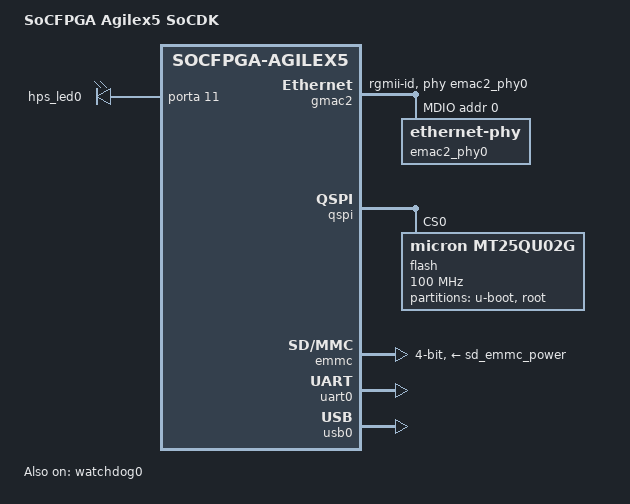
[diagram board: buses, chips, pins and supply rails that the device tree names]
// SPDX-License-Identifier: GPL-2.0-only
/*
 * Copyright (C) 2023, Intel Corporation
 */
#include "socfpga_agilex5.dtsi"

/ {
	model = "SoCFPGA Agilex5 SoCDK";
	compatible = "intel,socfpga-agilex5-socdk", "intel,socfpga-agilex5";

	aliases {
		serial0 = &uart0;
		ethernet0 = &gmac0;
		ethernet1 = &gmac1;
		ethernet2 = &gmac2;
	};

	chosen {
		stdout-path = "serial0:115200n8";
	};

	leds {
		compatible = "gpio-leds";

		led-0 {
			label = "hps_led0";
			gpios = <&porta 11 GPIO_ACTIVE_HIGH>;
		};

	};

	memory@80000000 {
		device_type = "memory";
		/* We expect the bootloader to fill in the reg */
		reg = <0x0 0x80000000 0x0 0x0>;
	};
};

&gpio0 {
	status = "okay";
};

&gmac2 {
	status = "okay";
	phy-mode = "rgmii-id";
	phy-handle = <&emac2_phy0>;
	max-frame-size = <9000>;

	mdio0 {
		#address-cells = <1>;
		#size-cells = <0>;
		compatible = "snps,dwmac-mdio";

		emac2_phy0: ethernet-phy@0 {
			reg = <0>;
		};
	};
};

&gpio1 {
	status = "okay";
};

&osc1 {
	clock-frequency = <25000000>;
};

&qspi {
	status = "okay";
	flash@0 {
		compatible = "micron,mt25qu02g", "jedec,spi-nor";
		reg = <0>;
		spi-max-frequency = <100000000>;
		m25p,fast-read;
		cdns,read-delay = <2>;
		cdns,tshsl-ns = <50>;
		cdns,tsd2d-ns = <50>;
		cdns,tchsh-ns = <4>;
		cdns,tslch-ns = <4>;
		spi-tx-bus-width = <4>;
		spi-rx-bus-width = <4>;

		partitions {
			compatible = "fixed-partitions";
			#address-cells = <1>;
			#size-cells = <1>;

			qspi_boot: partition@0 {
				label = "u-boot";
				reg = <0x0 0x04200000>;
			};

			root: partition@4200000 {
				label = "root";
				reg = <0x04200000 0x0be00000>;
			};
		};
	};
};

&sd_io_1v8_reg {
	gpios = <&portb 3 GPIO_ACTIVE_HIGH>;
};

&emmc {
	status = "okay";

	no-mmc;
	disable-wp;
	bus-width = <4>;
	cap-sd-highspeed;
	sd-uhs-sdr104;
	vmmc-supply = <&sd_emmc_power>;
	vqmmc-supply = <&sd_io_1v8_reg>;
	max-frequency = <200000000>;
	/*
	 * SDHCI capability overrides:
	 *  - caps_mask[0] 0x0000ff00 / caps[0] 0x0000c800:
	 *      Override SDHCI_CLOCK_BASE_MASK to 0xc8 (200 MHz).
	 *  - caps_mask[1] 0x00002000 / caps[1] 0:
	 *      Clear SDHCI_USE_SDR50_TUNING; SDR50 tuning is unsupported.
	 */
	sdhci-caps = <0x00000000 0x0000c800>;
	sdhci-caps-mask = <0x00002000 0x0000ff00>;
};

&uart0 {
	status = "okay";
};

&usb0 {
	status = "okay";
	disable-over-current;
};

&watchdog0 {
	status = "okay";
};
